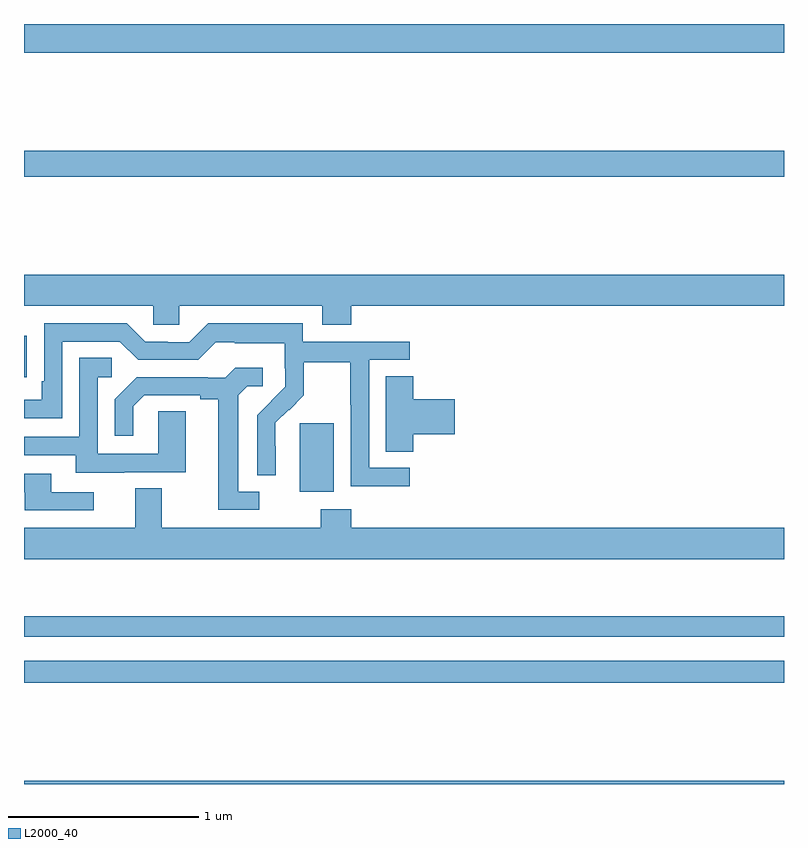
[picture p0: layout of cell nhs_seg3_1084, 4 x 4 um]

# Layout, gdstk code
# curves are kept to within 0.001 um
import gdstk
lib = gdstk.Library(unit=1e-6, precision=1e-09)
def R(c, l, rs):  # rectangles x0, y0, x1, y1
    for r in rs: c.add(gdstk.rectangle(r[:2], r[2:], *l))
def P(c, l, *ps):  # polygons
    for p in ps: c.add(gdstk.Polygon(p, *l))
L2000_40 = (2000, 40)

nhs_seg3_1084 = lib.new_cell('nhs_seg3_1084')
R(nhs_seg3_1084, L2000_40, [(167,698.4,171,698.416), (167,698.932,171,699.048), (167,699.174,171,699.283), (168.452,699.938,168.631,700.299), (167,700.54,167.015,700.759), (167,701.596,171,701.732), (167,702.248,171,702.4)])
P(nhs_seg3_1084, L2000_40, [(168.722,700.916),(171,700.916),(171,701.08),(167,701.08),(167,700.916),(167.679,700.916),(167.679,700.818),(167.817,700.818),(167.817,700.916),(168.569,700.916),(168.569,700.817),(168.722,700.817)],
  [(169.03,700.065),(168.816,700.065),(168.816,700.632),(169.03,700.632),(169.03,700.728),(168.468,700.728),(168.468,700.825),(167.971,700.825),(167.871,700.725),(167.756,700.725),(167.756,700.728),(167.637,700.728),(167.541,700.824),(167.106,700.824),(167.106,700.519),(167.093,700.519),(167.093,700.422),(167,700.422),(167,700.326),(167.202,700.326),(167.202,700.728),(167.505,700.728),(167.601,700.632),(167.916,700.632),(168.009,700.725),(168.109,700.725),(168.109,700.721),(168.372,700.721),(168.372,700.587),(168.374,700.587),(168.374,700.49),(168.228,700.342),(168.228,700.024),(168.324,700.024),(168.323,700.301),(168.393,700.371),(168.396,700.368),(168.473,700.445),(168.473,700.62),(168.718,700.62),(168.718,700.396),(168.72,700.396),(168.72,699.967),(169.03,699.967)],
  [(167.527,700.041),(167.851,700.041),(167.851,700.361),(167.706,700.361),(167.706,700.137),(167.388,700.137),(167.388,700.542),(167.461,700.542),(167.461,700.643),(167.292,700.643),(167.292,700.227),(167,700.227),(167,700.131),(167.273,700.131),(167.273,700.037),(167.527,700.037)],
  [(168.238,699.939),(168.127,699.939),(168.127,700.447),(168.174,700.494),(168.256,700.494),(168.256,700.591),(168.112,700.591),(168.06,700.539),(167.966,700.539),(167.966,700.542),(167.594,700.542),(167.478,700.426),(167.478,700.233),(167.575,700.233),(167.575,700.389),(167.632,700.446),(167.927,700.446),(167.927,700.424),(168.023,700.424),(168.023,699.843),(168.238,699.843)],
  [(169.049,700.241),(169.267,700.241),(169.267,700.424),(169.049,700.424),(169.049,700.547),(168.905,700.547),(168.905,700.15),(169.049,700.15)],
  [(167.368,699.936),(167.143,699.936),(167.143,700.032),(167,700.032),(167,699.936),(167.003,699.936),(167.003,699.84),(167.368,699.84)],
  [(171,699.748),(168.722,699.748),(168.722,699.847),(168.562,699.847),(168.562,699.748),(167.725,699.748),(167.725,699.956),(167.585,699.956),(167.585,699.748),(167,699.748),(167,699.584),(171,699.584)])

lib.write_gds('nhs_seg3_1084.gds')
